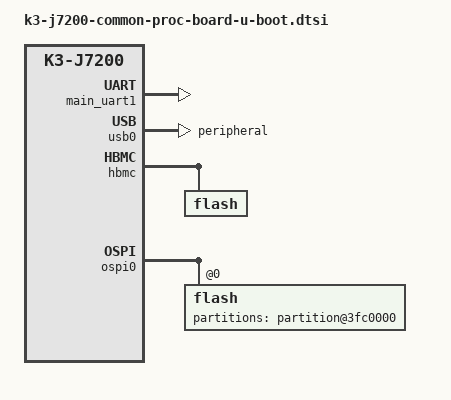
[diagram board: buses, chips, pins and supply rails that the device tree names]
// SPDX-License-Identifier: GPL-2.0
/*
 * Copyright (C) 2020 Texas Instruments Incorporated - https://www.ti.com/
 */

/ {
	chosen {
		stdout-path = "serial2:115200n8";
		tick-timer = &timer1;
	};

	aliases {
		ethernet0 = &cpsw_port1;
	};
};

&chipid {
	u-boot,dm-spl;
};

&cbass_main {
	u-boot,dm-spl;
};

&main_navss {
	u-boot,dm-spl;
};

&cbass_mcu_wakeup {
	u-boot,dm-spl;

	timer1: timer@40400000 {
		compatible = "ti,omap5430-timer";
		reg = <0x0 0x40400000 0x0 0x80>;
		ti,timer-alwon;
		clock-frequency = <25000000>;
		u-boot,dm-spl;
	};

	mcu-navss{
		u-boot,dm-spl;

		ringacc@2b800000 {
			reg =	<0x0 0x2b800000 0x0 0x400000>,
				<0x0 0x2b000000 0x0 0x400000>,
				<0x0 0x28590000 0x0 0x100>,
				<0x0 0x2a500000 0x0 0x40000>,
				<0x0 0x28440000 0x0 0x40000>;
			reg-names = "rt", "fifos", "proxy_gcfg", "proxy_target", "cfg";
			u-boot,dm-spl;
		};

		dma-controller@285c0000 {
			reg =	<0x0 0x285c0000 0x0 0x100>,
				<0x0 0x284c0000 0x0 0x4000>,
				<0x0 0x2a800000 0x0 0x40000>,
				<0x0 0x284a0000 0x0 0x4000>,
				<0x0 0x2aa00000 0x0 0x40000>,
				<0x0 0x28400000 0x0 0x2000>;
			reg-names = "gcfg", "rchan", "rchanrt", "tchan",
					    "tchanrt", "rflow";
			u-boot,dm-spl;
		};
	};
};

&secure_proxy_main {
	u-boot,dm-spl;
};

&dmsc {
	u-boot,dm-spl;
	k3_sysreset: sysreset-controller {
		compatible = "ti,sci-sysreset";
		u-boot,dm-spl;
	};
};

&k3_pds {
	u-boot,dm-spl;
};

&k3_clks {
	u-boot,dm-spl;
};

&k3_reset {
	u-boot,dm-spl;
};

&wkup_pmx0 {
	u-boot,dm-spl;
};

&main_pmx0 {
	u-boot,dm-spl;

	main_uart1_pins_default: main_uart1_pins_default {
		pinctrl-single,pins = <
			J721E_IOPAD(0xb8, PIN_INPUT, 0) /* (AA4) UART1_RXD */
			J721E_IOPAD(0xbc, PIN_OUTPUT, 0) /* (AB4) UART1_TXD */
		>;
	};
};

&main_uart0 {
	u-boot,dm-spl;
};

&main_uart1 {
	pinctrl-names = "default";
	pinctrl-0 = <&main_uart1_pins_default>;
	status = "okay";
};

&mcu_uart0 {
	u-boot,dm-spl;
};

&main_gpio0 {
	u-boot,dm-spl;
};

&main_sdhci0 {
	u-boot,dm-spl;
};

&main_sdhci1 {
	u-boot,dm-spl;
};

&wkup_i2c0_pins_default {
	u-boot,dm-spl;
};

&wkup_i2c0 {
	u-boot,dm-spl;
};

&main_i2c0 {
	u-boot,dm-spl;
};

&main_i2c0_pins_default {
	u-boot,dm-spl;
};

&exp2 {
	u-boot,dm-spl;
};

&mcu_cpsw {
	reg = <0x0 0x46000000 0x0 0x200000>,
	      <0x0 0x40f00200 0x0 0x8>;
	reg-names = "cpsw_nuss", "mac_efuse";

	cpsw-phy-sel@40f04040 {
		compatible = "ti,am654-cpsw-phy-sel";
		reg= <0x0 0x40f04040 0x0 0x4>;
		reg-names = "gmii-sel";
	};
};

&main_usbss0_pins_default {
	u-boot,dm-spl;
};

&usbss0 {
	u-boot,dm-spl;
	ti,usb2-only;
};

&usb0 {
	dr_mode = "peripheral";
	u-boot,dm-spl;
};

&wkup_gpio_pins_default {
	u-boot,dm-spl;
};

&wkup_gpio0 {
	u-boot,dm-spl;
};

&mcu_fss0_hpb0_pins_default {
	u-boot,dm-spl;
};

&fss {
	u-boot,dm-spl;
};

&hbmc {
	u-boot,dm-spl;

	flash@0,0 {
		u-boot,dm-spl;
	};
};

&hbmc_mux {
	u-boot,dm-spl;
};

&mcu_fss0_ospi0_pins_default {
	u-boot,dm-spl;
};

&ospi0 {
	u-boot,dm-spl;
	status = "okay";

       flash@0 {
		u-boot,dm-spl;
		partition@3fc0000 {
			u-boot,dm-spl;
		};
	};
};

&main_esm {
	u-boot,dm-spl;
};

&serdes_ln_ctrl {
	u-boot,mux-autoprobe;
};

&usb_serdes_mux {
	u-boot,mux-autoprobe;
};

&serdes0 {
	u-boot,dm-spl;
};
